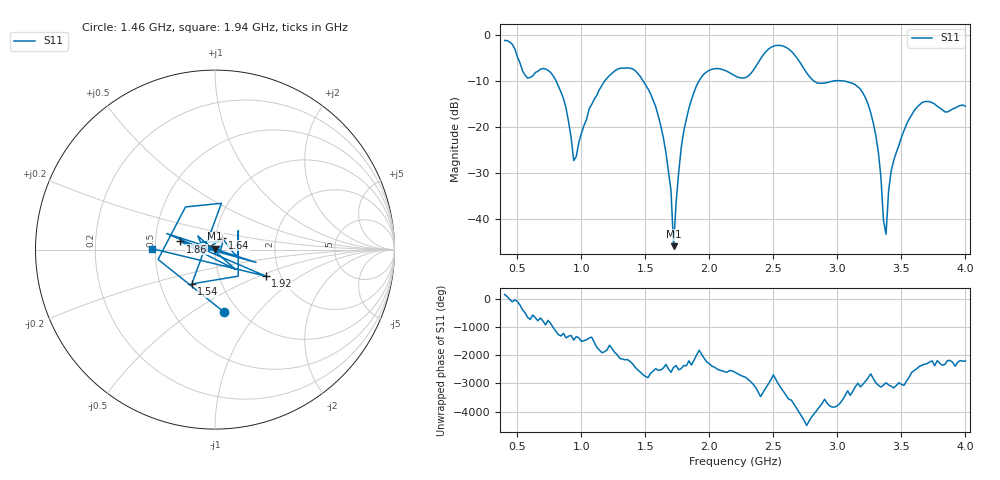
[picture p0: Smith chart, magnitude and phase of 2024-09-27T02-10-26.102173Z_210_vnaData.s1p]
!Created with skrf (http://scikit-rf.org).
# Hz S RI R 50.0
!freq ReS11 ImS11
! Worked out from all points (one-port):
!   181 points, 400 MHz to 4 GHz, reference 50 ohm
!   lowest |S11| = -45.8 dB at 1.72 GHz (marker M1), VSWR 1.01, Z = 50.1 + j0.507 ohm
!   |S11| at or under -10 dB: 802.8 MHz to 1.18 GHz (377.6 MHz wide, 38.1 % of centre); 1.483 GHz to 1.919 GHz (435.6 MHz wide, 25.6 % of centre); 3.05 GHz to end of sweep (the widest 3 of 4)
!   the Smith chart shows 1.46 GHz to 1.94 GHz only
!   S11 on the Smith chart (normalised r, x): 1.46 GHz: 0.86, -0.69; 1.54 GHz: 0.72, -0.29; 1.64 GHz: 1.07, +0.14; 1.86 GHz: 0.67, +0.06; 1.92 GHz: 1.67, -0.55; 1.94 GHz: 0.48, +0.01
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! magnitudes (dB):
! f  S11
! 400 MHz  -1.2
! 580 MHz  -9.4
! 740 MHz  -7.7
! 860 MHz  -13.8
! 940 MHz  -27.2
! 1.06 GHz  -16.1
! 1.3 GHz  -7.2
! 1.46 GHz  -9.0
! 1.54 GHz  -12.7
! 1.64 GHz  -22.3
! 1.7 GHz  -33.8
! 1.72 GHz  -45.8
! 1.76 GHz  -29.8
! 1.86 GHz  -14.0
! 1.92 GHz  -9.9
! 1.94 GHz  -9.1
! 2.2 GHz  -8.9
! 2.5 GHz  -2.4
! 2.66 GHz  -4.2
! 2.84 GHz  -10.4
! 3.1 GHz  -10.3
! 3.28 GHz  -19.1
! 3.32 GHz  -25.4
! 3.38 GHz  -43.2
! 3.42 GHz  -29.5
! 3.56 GHz  -18.3
! 3.68 GHz  -14.5
! 4 GHz  -15.4
